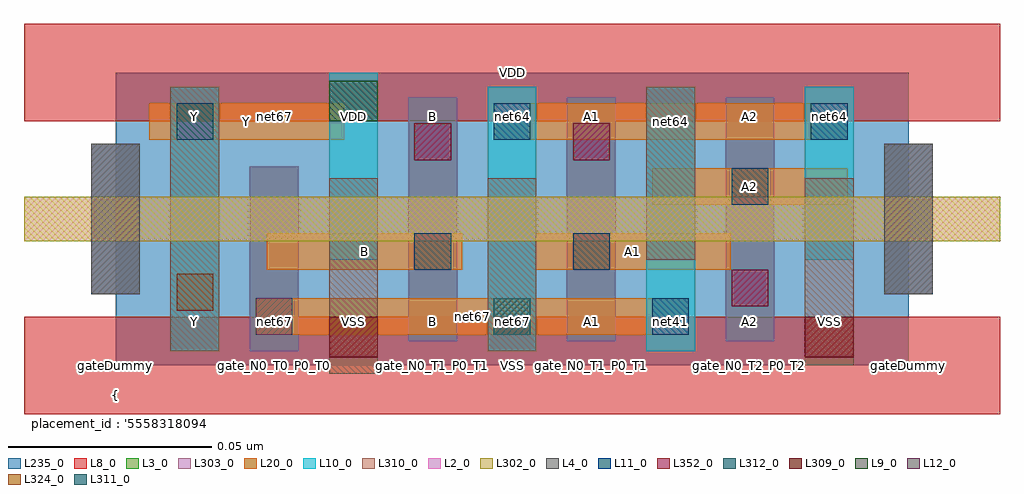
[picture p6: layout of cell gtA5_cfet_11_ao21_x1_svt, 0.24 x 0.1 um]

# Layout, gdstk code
import gdstk
lib = gdstk.Library(unit=1e-6, precision=2.5e-10)
def R(c, l, rs):  # rectangles x0, y0, x1, y1
    for r in rs: c.add(gdstk.rectangle(r[:2], r[2:], *l))
def A(c, l, x, y, w, h, nx, ny, dx, dy):  # array of equal rectangles
    R(c, l, [(x+i*dx, y+j*dy, x+i*dx+w, y+j*dy+h) for i in range(nx) for j in range(ny)])
L2_0 = (2, 0)
L3_0 = (3, 0)
L4_0 = (4, 0)
L8_0 = (8, 0)
L9_0 = (9, 0)
L10_0 = (10, 0)
L11_0 = (11, 0)
L12_0 = (12, 0)
L20_0 = (20, 0)
L235_0 = (235, 0)
L302_0 = (302, 0)
L303_0 = (303, 0)
L309_0 = (309, 0)
L310_0 = (310, 0)
L311_0 = (311, 0)
L312_0 = (312, 0)
L324_0 = (324, 0)
L352_0 = (352, 0)

gta5_cfet_11_ao21_x1_svt = lib.new_cell('gtA5_cfet_11_ao21_x1_svt')
R(gta5_cfet_11_ao21_x1_svt, L2_0, [(-0.0225,0.0305,0.2175,0.0415)])
A(gta5_cfet_11_ao21_x1_svt, L3_0, 0.072, 0.006, 0.012, 0.06, 3, 1, 0.039, 0)
R(gta5_cfet_11_ao21_x1_svt, L3_0, [(0.033,0.0035,0.045,0.049), (-0.006,0.0175,0.006,0.0545), (0.189,0.0175,0.201,0.0545)])
R(gta5_cfet_11_ao21_x1_svt, L4_0, [(-0.006,0.0175,0.006,0.0545), (0.189,0.0175,0.201,0.0545)])
R(gta5_cfet_11_ao21_x1_svt, L8_0, [(-0.0225,-0.012,0.2175,0.012), (-0.0225,0.06,0.2175,0.084)])
R(gta5_cfet_11_ao21_x1_svt, L9_0, [(0.0525,0.06,0.0645,0.07)])
R(gta5_cfet_11_ao21_x1_svt, L10_0, [(0.0135,0.0035,0.0255,0.0685), (0.0915,0.0035,0.1035,0.0685), (0.1305,0.0035,0.1425,0.0685), (0.0525,0.026,0.0645,0.072), (0.1695,0.026,0.1815,0.0685)])
A(gta5_cfet_11_ao21_x1_svt, L11_0, 0.015, 0.0555, 0.009, 0.009, 3, 1, 0.078, 0)
R(gta5_cfet_11_ao21_x1_svt, L11_0, [(0.132,0.0075,0.141,0.0165)])
R(gta5_cfet_11_ao21_x1_svt, L12_0, [(0.0345,0.0075,0.0435,0.0165)])
R(gta5_cfet_11_ao21_x1_svt, L20_0, [(0.0345,0.0075,0.141,0.0165), (0.0372,0.0235,0.0853,0.0325), (0.1033,0.0235,0.1512,0.0325), (0.132,0.0395,0.18,0.0485), (0.0083,0.0555,0.0563,0.0645), (0.093,0.0555,0.18,0.0645)])
R(gta5_cfet_11_ao21_x1_svt, L235_0, [(0,0,0.195,0.072)])
R(gta5_cfet_11_ao21_x1_svt, L302_0, [(-0.0225,0.0305,0.2175,0.0415)])
A(gta5_cfet_11_ao21_x1_svt, L303_0, 0.072, 0.006, 0.012, 0.06, 3, 1, 0.039, 0)
R(gta5_cfet_11_ao21_x1_svt, L303_0, [(0.033,0.0035,0.045,0.049), (-0.006,0.0175,0.006,0.0545), (0.189,0.0175,0.201,0.0545)])
R(gta5_cfet_11_ao21_x1_svt, L309_0, [(0.0525,0.002,0.0645,0.012), (0.1695,0.002,0.1815,0.012)])
R(gta5_cfet_11_ao21_x1_svt, L310_0, [(0.0525,-0.002,0.0645,0.046), (0.1695,0,0.1815,0.046), (0.0135,0.0035,0.0255,0.0685), (0.0915,0.0035,0.1035,0.046), (0.1305,0.026,0.1425,0.0685)])
R(gta5_cfet_11_ao21_x1_svt, L311_0, [(0.093,0.0075,0.102,0.0165)])
R(gta5_cfet_11_ao21_x1_svt, L312_0, [(0.0735,0.0235,0.0825,0.0325), (0.1125,0.0235,0.1215,0.0325), (0.1515,0.0395,0.1605,0.0485)])
R(gta5_cfet_11_ao21_x1_svt, L324_0, [(0.015,0.0135,0.024,0.0225)])
R(gta5_cfet_11_ao21_x1_svt, L352_0, [(0.1515,0.0145,0.1605,0.0235), (0.0735,0.0505,0.0825,0.0595), (0.1125,0.0505,0.1215,0.0595)])
gta5_cfet_11_ao21_x1_svt.add(gdstk.Label('net67', (0.0878,0.012), layer=100, texttype=100))
gta5_cfet_11_ao21_x1_svt.add(gdstk.Label('net64', (0.1365,0.06), layer=100, texttype=100))
gta5_cfet_11_ao21_x1_svt.add(gdstk.Label('gateDummy', (0,0), layer=103, texttype=103))
gta5_cfet_11_ao21_x1_svt.add(gdstk.Label('sd_N0_T3_P0_T3', (0.0195,0), layer=103, texttype=103))
gta5_cfet_11_ao21_x1_svt.add(gdstk.Label('gate_N0_T0_P0_T0', (0.039,0), layer=103, texttype=103))
gta5_cfet_11_ao21_x1_svt.add(gdstk.Label('sd_N0_VSS_P0_VDD', (0.0585,0), layer=103, texttype=103))
gta5_cfet_11_ao21_x1_svt.add(gdstk.Label('gate_N0_T1_P0_T1', (0.078,0), layer=103, texttype=103))
gta5_cfet_11_ao21_x1_svt.add(gdstk.Label('sd_N0_T0_P0_T3', (0.0975,0), layer=103, texttype=103))
gta5_cfet_11_ao21_x1_svt.add(gdstk.Label('gate_N0_T1_P0_T1', (0.117,0), layer=103, texttype=103))
gta5_cfet_11_ao21_x1_svt.add(gdstk.Label('sd_N0_abut_P0_T0', (0.1365,0), layer=103, texttype=103))
gta5_cfet_11_ao21_x1_svt.add(gdstk.Label('gate_N0_T2_P0_T2', (0.156,0), layer=103, texttype=103))
gta5_cfet_11_ao21_x1_svt.add(gdstk.Label('sd_N0_VSS_P0_T3', (0.1755,0), layer=103, texttype=103))
gta5_cfet_11_ao21_x1_svt.add(gdstk.Label('gateDummy', (0.195,0), layer=103, texttype=103))
gta5_cfet_11_ao21_x1_svt.add(gdstk.Label('}', (0,-0.0785), layer=104, texttype=104))
gta5_cfet_11_ao21_x1_svt.add(gdstk.Label('  power : None', (0,-0.0713), layer=104, texttype=104))
gta5_cfet_11_ao21_x1_svt.add(gdstk.Label('  performance : None', (0,-0.0643), layer=104, texttype=104))
gta5_cfet_11_ao21_x1_svt.add(gdstk.Label("  solution_hash : '12172808612089621958'", (0,-0.057), layer=104, texttype=104))
gta5_cfet_11_ao21_x1_svt.add(gdstk.Label('  number_m2 : 0', (0,-0.05), layer=104, texttype=104))
gta5_cfet_11_ao21_x1_svt.add(gdstk.Label('  number_m1 : 0', (0,-0.0428), layer=104, texttype=104))
gta5_cfet_11_ao21_x1_svt.add(gdstk.Label('  number_m0cuts : 0', (0,-0.0358), layer=104, texttype=104))
gta5_cfet_11_ao21_x1_svt.add(gdstk.Label('  number_m0 : 6', (0,-0.0285), layer=104, texttype=104))
gta5_cfet_11_ao21_x1_svt.add(gdstk.Label("  solution_number : '0000'", (0,-0.0215), layer=104, texttype=104))
gta5_cfet_11_ao21_x1_svt.add(gdstk.Label("  placement_id : '5558318094000351371'", (0,-0.0143), layer=104, texttype=104))
gta5_cfet_11_ao21_x1_svt.add(gdstk.Label('{', (0,-0.0073), layer=104, texttype=104))
gta5_cfet_11_ao21_x1_svt.add(gdstk.Label('Y', (0.0195,0.0108), layer=105, texttype=105))
gta5_cfet_11_ao21_x1_svt.add(gdstk.Label('net67', (0.039,0.0108), layer=105, texttype=105))
gta5_cfet_11_ao21_x1_svt.add(gdstk.Label('VSS', (0.0585,0.0108), layer=105, texttype=105))
gta5_cfet_11_ao21_x1_svt.add(gdstk.Label('B', (0.078,0.0108), layer=105, texttype=105))
gta5_cfet_11_ao21_x1_svt.add(gdstk.Label('net67', (0.0975,0.0108), layer=105, texttype=105))
gta5_cfet_11_ao21_x1_svt.add(gdstk.Label('A1', (0.117,0.0108), layer=105, texttype=105))
gta5_cfet_11_ao21_x1_svt.add(gdstk.Label('net41', (0.1365,0.0108), layer=105, texttype=105))
gta5_cfet_11_ao21_x1_svt.add(gdstk.Label('A2', (0.156,0.0108), layer=105, texttype=105))
gta5_cfet_11_ao21_x1_svt.add(gdstk.Label('VSS', (0.1755,0.0108), layer=105, texttype=105))
gta5_cfet_11_ao21_x1_svt.add(gdstk.Label('Y', (0.0195,0.0612), layer=105, texttype=105))
gta5_cfet_11_ao21_x1_svt.add(gdstk.Label('net67', (0.039,0.0612), layer=105, texttype=105))
gta5_cfet_11_ao21_x1_svt.add(gdstk.Label('VDD', (0.0585,0.0612), layer=105, texttype=105))
gta5_cfet_11_ao21_x1_svt.add(gdstk.Label('B', (0.078,0.0612), layer=105, texttype=105))
gta5_cfet_11_ao21_x1_svt.add(gdstk.Label('net64', (0.0975,0.0612), layer=105, texttype=105))
gta5_cfet_11_ao21_x1_svt.add(gdstk.Label('A1', (0.117,0.0612), layer=105, texttype=105))
gta5_cfet_11_ao21_x1_svt.add(gdstk.Label('net67', (0.1365,0.0612), layer=105, texttype=105))
gta5_cfet_11_ao21_x1_svt.add(gdstk.Label('A2', (0.156,0.0612), layer=105, texttype=105))
gta5_cfet_11_ao21_x1_svt.add(gdstk.Label('net64', (0.1755,0.0612), layer=105, texttype=105))
gta5_cfet_11_ao21_x1_svt.add(gdstk.Label('VSS', (0.0975,0), layer=8, texttype=0))
gta5_cfet_11_ao21_x1_svt.add(gdstk.Label('VDD', (0.0975,0.072), layer=8, texttype=0))
gta5_cfet_11_ao21_x1_svt.add(gdstk.Label('B', (0.0612,0.028), layer=20, texttype=251))
gta5_cfet_11_ao21_x1_svt.add(gdstk.Label('A1', (0.1273,0.028), layer=20, texttype=251))
gta5_cfet_11_ao21_x1_svt.add(gdstk.Label('A2', (0.156,0.044), layer=20, texttype=251))
gta5_cfet_11_ao21_x1_svt.add(gdstk.Label('Y', (0.0323,0.06), layer=20, texttype=251))
gta5_cfet_11_ao21_x1_svt.add(gdstk.Label('gtA5_cfet_11_ao21_x1_rvt_0', (0,0), layer=235, texttype=0))

lib.write_gds('gtA5_cfet_11_ao21_x1_svt.gds')
